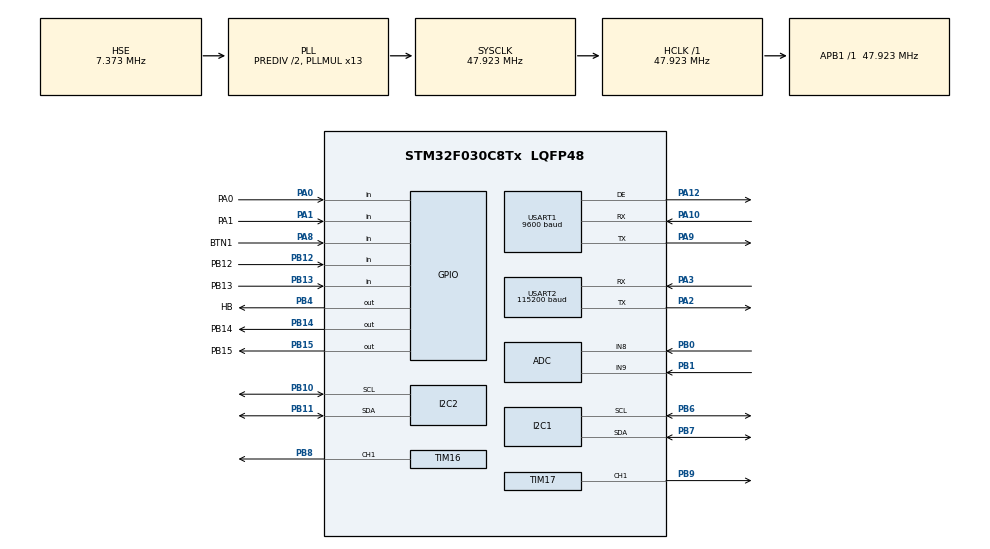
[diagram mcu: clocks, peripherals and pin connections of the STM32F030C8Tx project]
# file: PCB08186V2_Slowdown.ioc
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ADC.ClockPrescaler=ADC_CLOCK_SYNC_PCLK_DIV4
ADC.ContinuousConvMode=DISABLE
ADC.DMAContinuousRequests=ENABLE
ADC.EOCSelection=ADC_EOC_SEQ_CONV
ADC.Overrun=ADC_OVR_DATA_OVERWRITTEN
ADC.SamplingTime=ADC_SAMPLETIME_55CYCLES_5
CRC.DefaultInitValueUse=DEFAULT_INIT_VALUE_ENABLE
Dma.ADC.2.Direction=DMA_PERIPH_TO_MEMORY
Dma.ADC.2.Instance=DMA1_Channel1
Dma.ADC.2.MemDataAlignment=DMA_MDATAALIGN_HALFWORD
Dma.ADC.2.MemInc=DMA_MINC_ENABLE
Dma.ADC.2.Mode=DMA_NORMAL
Dma.ADC.2.PeriphDataAlignment=DMA_PDATAALIGN_HALFWORD
Dma.ADC.2.PeriphInc=DMA_PINC_DISABLE
Dma.ADC.2.Priority=DMA_PRIORITY_LOW
Dma.Request0=USART1_RX
Dma.Request1=USART1_TX
Dma.Request2=ADC
Dma.Request3=USART2_RX
Dma.Request4=USART2_TX
Dma.USART1_RX.0.Direction=DMA_PERIPH_TO_MEMORY
Dma.USART1_RX.0.Instance=DMA1_Channel3
Dma.USART1_RX.0.MemDataAlignment=DMA_MDATAALIGN_BYTE
Dma.USART1_RX.0.MemInc=DMA_MINC_ENABLE
Dma.USART1_RX.0.Mode=DMA_NORMAL
Dma.USART1_RX.0.PeriphDataAlignment=DMA_PDATAALIGN_BYTE
Dma.USART1_RX.0.PeriphInc=DMA_PINC_DISABLE
Dma.USART1_RX.0.Priority=DMA_PRIORITY_VERY_HIGH
Dma.USART1_TX.1.Direction=DMA_MEMORY_TO_PERIPH
Dma.USART1_TX.1.Instance=DMA1_Channel2
Dma.USART1_TX.1.MemDataAlignment=DMA_MDATAALIGN_BYTE
Dma.USART1_TX.1.MemInc=DMA_MINC_ENABLE
Dma.USART1_TX.1.Mode=DMA_NORMAL
Dma.USART1_TX.1.PeriphDataAlignment=DMA_PDATAALIGN_BYTE
Dma.USART1_TX.1.PeriphInc=DMA_PINC_DISABLE
Dma.USART1_TX.1.Priority=DMA_PRIORITY_LOW
Dma.USART2_RX.3.Direction=DMA_PERIPH_TO_MEMORY
Dma.USART2_RX.3.Instance=DMA1_Channel5
Dma.USART2_RX.3.MemDataAlignment=DMA_MDATAALIGN_BYTE
Dma.USART2_RX.3.MemInc=DMA_MINC_ENABLE
Dma.USART2_RX.3.Mode=DMA_NORMAL
Dma.USART2_RX.3.PeriphDataAlignment=DMA_PDATAALIGN_BYTE
Dma.USART2_RX.3.PeriphInc=DMA_PINC_DISABLE
Dma.USART2_RX.3.Priority=DMA_PRIORITY_LOW
Dma.USART2_TX.4.Direction=DMA_MEMORY_TO_PERIPH
Dma.USART2_TX.4.Instance=DMA1_Channel4
Dma.USART2_TX.4.MemDataAlignment=DMA_MDATAALIGN_BYTE
Dma.USART2_TX.4.MemInc=DMA_MINC_ENABLE
Dma.USART2_TX.4.Mode=DMA_NORMAL
Dma.USART2_TX.4.PeriphDataAlignment=DMA_PDATAALIGN_BYTE
Dma.USART2_TX.4.PeriphInc=DMA_PINC_DISABLE
Dma.USART2_TX.4.Priority=DMA_PRIORITY_LOW
I2C1.Timing=0x00B0DAFA
I2C2.Timing=0x00B0DAFA
IWDG.Prescaler=IWDG_PRESCALER_32
Mcu.Family=STM32F0
Mcu.Name=STM32F030C8Tx
Mcu.Package=LQFP48
NVIC.ADC1_IRQn=true\:0\:0\:false\:false\:true\:true\:true\:true
NVIC.DMA1_Channel1_IRQn=true\:0\:0\:false\:false\:true\:false\:true\:true
NVIC.DMA1_Channel2_3_IRQn=true\:0\:0\:false\:false\:true\:false\:true\:true
NVIC.DMA1_Channel4_5_IRQn=true\:0\:0\:false\:false\:true\:false\:true\:true
NVIC.I2C1_IRQn=true\:0\:0\:false\:false\:true\:true\:true\:true
NVIC.TIM15_IRQn=true\:3\:0\:false\:false\:true\:false\:true\:true
NVIC.TIM16_IRQn=true\:0\:0\:false\:false\:true\:true\:true\:true
NVIC.TIM17_IRQn=true\:0\:0\:false\:false\:true\:true\:true\:true
NVIC.TimeBase=TIM15_IRQn
NVIC.TimeBaseIP=TIM15
NVIC.USART1_IRQn=true\:0\:0\:false\:false\:true\:true\:true\:true
NVIC.USART2_IRQn=true\:0\:0\:false\:false\:true\:true\:true\:true
PA0.GPIO_Label=PA0
PA0.GPIO_PuPd=GPIO_PULLUP
PA0.Signal=GPIO_Input
PA1.GPIO_Label=PA1
PA1.GPIO_PuPd=GPIO_PULLUP
PA1.Signal=GPIO_Input
PA10.GPIO_PuPd=GPIO_PULLUP
PA10.Mode=Asynchronous
PA10.Signal=USART1_RX
PA12.Mode=Hardware Flow Control (RS485)
PA12.Signal=USART1_DE
PA13.Mode=Serial_Wire
PA13.Signal=SYS_SWDIO
PA14.Mode=Serial_Wire
PA14.Signal=SYS_SWCLK
PA2.Mode=Asynchronous
PA2.Signal=USART2_TX
PA3.Mode=Asynchronous
PA3.Signal=USART2_RX
PA8.GPIO_Label=BTN1
PA8.GPIO_PuPd=GPIO_PULLUP
PA8.Signal=GPIO_Input
PA9.Mode=Asynchronous
PA9.Signal=USART1_TX
PB0.Mode=IN8
PB0.Signal=ADC_IN8
PB1.Mode=IN9
PB1.Signal=ADC_IN9
PB10.GPIO_Pu=GPIO_PULLUP
PB10.GPIO_Speed=GPIO_SPEED_FREQ_MEDIUM
PB10.Mode=I2C
PB10.Signal=I2C2_SCL
PB11.GPIO_Pu=GPIO_PULLUP
PB11.GPIO_Speed=GPIO_SPEED_FREQ_MEDIUM
PB11.Mode=I2C
PB11.Signal=I2C2_SDA
PB12.GPIO_Label=PB12
PB12.GPIO_PuPd=GPIO_PULLUP
PB12.Signal=GPIO_Input
PB13.GPIO_Label=PB13
PB13.GPIO_PuPd=GPIO_PULLUP
PB13.Signal=GPIO_Input
PB14.GPIO_Label=PB14
PB14.GPIO_Speed=GPIO_SPEED_FREQ_HIGH
PB14.Signal=GPIO_Output
PB15.GPIO_Label=PB15
PB15.GPIO_Speed=GPIO_SPEED_FREQ_HIGH
PB15.Signal=GPIO_Output
PB4.GPIO_Label=HB
PB4.Signal=GPIO_Output
PB6.GPIO_Pu=GPIO_PULLUP
PB6.GPIO_Speed=GPIO_SPEED_FREQ_MEDIUM
PB6.Mode=I2C
PB6.Signal=I2C1_SCL
PB7.GPIO_Pu=GPIO_PULLUP
PB7.GPIO_Speed=GPIO_SPEED_FREQ_MEDIUM
PB7.Mode=I2C
PB7.Signal=I2C1_SDA
PB8.GPIO_FM8=__NULL
PB8.GPIO_Speed=GPIO_SPEED_FREQ_HIGH
PB8.Signal=S_TIM16_CH1
PB9.GPIO_FM9=__NULL
PB9.GPIO_Speed=GPIO_SPEED_FREQ_HIGH
PB9.Signal=S_TIM17_CH1
PF0-OSC_IN.Mode=HSE-External-Oscillator
PF0-OSC_IN.Signal=RCC_OSC_IN
PF1-OSC_OUT.Mode=HSE-External-Oscillator
PF1-OSC_OUT.Signal=RCC_OSC_OUT
ProjectManager.HeapSize=0x200
ProjectManager.StackSize=0x400
ProjectManager.TargetToolchain=STM32CubeIDE
RCC.AHBFreq_Value=47923200
RCC.APB1Freq_Value=47923200
RCC.APB1TimFreq_Value=47923200
RCC.HCLKFreq_Value=47923200
RCC.HSE_VALUE=7372800
RCC.I2c1ClockSelection=RCC_I2C1CLKSOURCE_SYSCLK
RCC.PLLDivider=RCC_PREDIV_DIV2
RCC.PLLMUL=RCC_PLL_MUL13
RCC.PLLSourceVirtual=RCC_PLLSOURCE_HSE
RCC.SYSCLKFreq_VALUE=47923200
RCC.SYSCLKSource=RCC_SYSCLKSOURCE_PLLCLK
SH.S_TIM16_CH1.0=TIM16_CH1,PWM Generation1 CH1
SH.S_TIM17_CH1.0=TIM17_CH1,PWM Generation1 CH1
TIM16.Channel=TIM_CHANNEL_1
TIM16.OCIdleState_1=TIM_OCIDLESTATE_SET
TIM16.OCPolarity_1=TIM_OCPOLARITY_LOW
TIM16.Period=32512
TIM16.Prescaler=20
TIM17.Channel=TIM_CHANNEL_1
TIM17.OCIdleState_1=TIM_OCIDLESTATE_SET
TIM17.OCPolarity_1=TIM_OCPOLARITY_LOW
TIM17.Period=32512
TIM17.Prescaler=20
USART1.BaudRate=9600
USART1.VirtualMode-Asynchronous=VM_ASYNC
USART1.VirtualMode-Hardware\ Flow\ Control\ (RS485)=VM_ASYNC
USART2.BaudRate=115200
USART2.VirtualMode-Asynchronous=VM_ASYNC
VP_ADC_TempSens_Input.Mode=IN-TempSens
VP_ADC_Vref_Input.Mode=IN-Vrefint
VP_CRC_VS_CRC.Mode=CRC_Activate
VP_IWDG_VS_IWDG.Mode=IWDG_Activate
VP_SYS_VS_tim15.Mode=TIM15
VP_TIM14_VS_ClockSourceINT.Mode=Enable_Timer
VP_TIM16_VS_ClockSourceINT.Mode=Enable_Timer
VP_TIM17_VS_ClockSourceINT.Mode=Enable_Timer
board=custom

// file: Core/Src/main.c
/* USER CODE BEGIN Header */
/**
 ******************************************************************************
 * @file           : main.c
 * @brief          : Main program body
 ******************************************************************************
 * @attention
 *
 * Copyright (c) 2023 STMicroelectronics.
 * All rights reserved.
 *
 * This software is licensed under terms that can be found in the LICENSE file
 * in the root directory of this software component.
 * If no LICENSE file comes with this software, it is provided AS-IS.
 *
 ******************************************************************************
 */
/* USER CODE END Header */
#include "main.h"
#include "adc.h"
#include "crc.h"
#include "dma.h"
#include "i2c.h"
#include "iwdg.h"
#include "tim.h"
#include "usart.h"
#include "gpio.h"

void SystemClock_Config(void);

int main(void)
{

  /* MCU Configuration--------------------------------------------------------*/

  /* Reset of all peripherals, Initializes the Flash interface and the Systick. */
  HAL_Init();

  /* Configure the system clock */
  SystemClock_Config();

  /* USER CODE BEGIN SysInit */
#if 0
  /* USER CODE END SysInit */

  /* Initialize all configured peripherals */
  MX_GPIO_Init();
  MX_DMA_Init();
  MX_CRC_Init();
  MX_I2C1_Init();
  MX_TIM16_Init();
  MX_TIM17_Init();
  MX_USART1_UART_Init();
  MX_ADC_Init();
  MX_TIM14_Init();
  MX_USART2_UART_Init();
  MX_IWDG_Init();
  MX_I2C2_Init();
  /* USER CODE BEGIN 2 */
#endif
  MX_GPIO_Init();
  MX_DMA_Init();
  MX_CRC_Init();
  MX_I2C1_Init();
  MX_TIM16_Init();
  MX_TIM17_Init();
  MX_USART1_UART_Init();
  MX_ADC_Init();
  MX_TIM14_Init();
  MX_USART2_UART_Init();
  MX_I2C2_Init();
#ifndef DEBUG
  MX_IWDG_Init();
#endif
  HAL_TIM_Base_Start(&htim14);
  extern void TasksRun(void);
  TasksRun();

  /* We should never get here as control is now taken by the TasksRun() */
  /* USER CODE END 2 */

  /* Infinite loop */
  while (1)
  {

  }
}

void SystemClock_Config(void)
{
  RCC_OscInitTypeDef RCC_OscInitStruct = {0};
  RCC_ClkInitTypeDef RCC_ClkInitStruct = {0};
  RCC_PeriphCLKInitTypeDef PeriphClkInit = {0};

  /** Initializes the RCC Oscillators according to the specified parameters
  * in the RCC_OscInitTypeDef structure.
  */
  RCC_OscInitStruct.OscillatorType = RCC_OSCILLATORTYPE_LSI|RCC_OSCILLATORTYPE_HSE;
  RCC_OscInitStruct.HSEState = RCC_HSE_ON;
  RCC_OscInitStruct.LSIState = RCC_LSI_ON;
  RCC_OscInitStruct.PLL.PLLState = RCC_PLL_ON;
  RCC_OscInitStruct.PLL.PLLSource = RCC_PLLSOURCE_HSE;
  RCC_OscInitStruct.PLL.PLLMUL = RCC_PLL_MUL13;
  RCC_OscInitStruct.PLL.PREDIV = RCC_PREDIV_DIV2;
  if (HAL_RCC_OscConfig(&RCC_OscInitStruct) != HAL_OK)
  {
    Error_Handler();
  }

  /** Initializes the CPU, AHB and APB buses clocks
  */
  RCC_ClkInitStruct.ClockType = RCC_CLOCKTYPE_HCLK|RCC_CLOCKTYPE_SYSCLK
                              |RCC_CLOCKTYPE_PCLK1;
  RCC_ClkInitStruct.SYSCLKSource = RCC_SYSCLKSOURCE_PLLCLK;
  RCC_ClkInitStruct.AHBCLKDivider = RCC_SYSCLK_DIV1;
  RCC_ClkInitStruct.APB1CLKDivider = RCC_HCLK_DIV1;

  if (HAL_RCC_ClockConfig(&RCC_ClkInitStruct, FLASH_LATENCY_1) != HAL_OK)
  {
    Error_Handler();
  }
  PeriphClkInit.PeriphClockSelection = RCC_PERIPHCLK_USART1|RCC_PERIPHCLK_I2C1;
  PeriphClkInit.Usart1ClockSelection = RCC_USART1CLKSOURCE_PCLK1;
  PeriphClkInit.I2c1ClockSelection = RCC_I2C1CLKSOURCE_SYSCLK;
  if (HAL_RCCEx_PeriphCLKConfig(&PeriphClkInit) != HAL_OK)
  {
    Error_Handler();
  }
}

void HAL_TIM_PeriodElapsedCallback(TIM_HandleTypeDef *htim)
{
  if (htim->Instance == TIM15) {
    HAL_IncTick();
  }
  /* USER CODE BEGIN Callback 1 */
  else
  {
    extern void PwmCallback(TIM_HandleTypeDef * htim);
    PwmCallback(htim);
  }
  /* USER CODE END Callback 1 */
}

void Error_Handler(void)
{
  __disable_irq();
  while (1)
  {
  }
}
